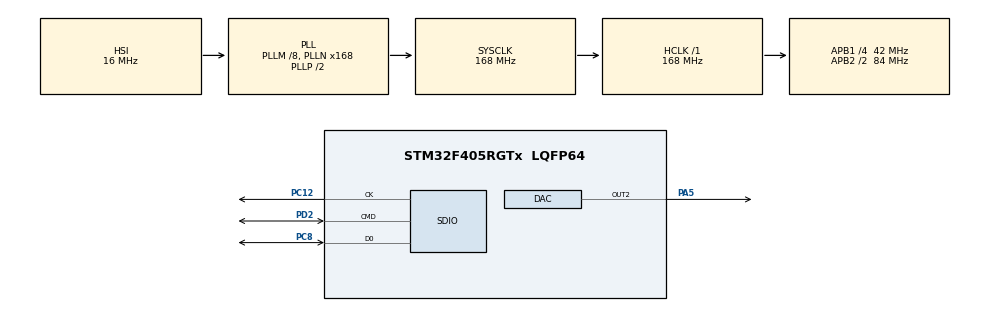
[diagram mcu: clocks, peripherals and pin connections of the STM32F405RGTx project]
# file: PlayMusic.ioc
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DAC.DAC_Trigger2=DAC_TRIGGER_T7_TRGO
Dma.DAC2.0.Direction=DMA_MEMORY_TO_PERIPH
Dma.DAC2.0.FIFOMode=DMA_FIFOMODE_DISABLE
Dma.DAC2.0.Instance=DMA1_Stream6
Dma.DAC2.0.MemDataAlignment=DMA_MDATAALIGN_HALFWORD
Dma.DAC2.0.MemInc=DMA_MINC_ENABLE
Dma.DAC2.0.Mode=DMA_NORMAL
Dma.DAC2.0.PeriphDataAlignment=DMA_PDATAALIGN_HALFWORD
Dma.DAC2.0.PeriphInc=DMA_PINC_DISABLE
Dma.DAC2.0.Priority=DMA_PRIORITY_VERY_HIGH
Dma.Request0=DAC2
FATFS._USE_STRFUNC=1
Mcu.Family=STM32F4
Mcu.Name=STM32F405RGTx
Mcu.Package=LQFP64
NVIC.DMA1_Stream6_IRQn=true\:0\:0\:false\:false\:true\:false\:true\:true
NVIC.PriorityGroup=NVIC_PRIORITYGROUP_4
PA13.Mode=Serial_Wire
PA13.Signal=SYS_JTMS-SWDIO
PA14.Mode=Serial_Wire
PA14.Signal=SYS_JTCK-SWCLK
PA5.Signal=COMP_DAC2_group
PC12.Mode=SD_1_bit
PC12.Signal=SDIO_CK
PC8.Mode=SD_1_bit
PC8.Signal=SDIO_D0
PD2.Mode=SD_1_bit
PD2.Signal=SDIO_CMD
PH0-OSC_IN.Mode=HSE-External-Oscillator
PH0-OSC_IN.Signal=RCC_OSC_IN
PH1-OSC_OUT.Mode=HSE-External-Oscillator
PH1-OSC_OUT.Signal=RCC_OSC_OUT
ProjectManager.HeapSize=0x200
ProjectManager.StackSize=0x400
ProjectManager.TargetToolchain=STM32CubeIDE
RCC.48MHZClocksFreq_Value=48000000
RCC.AHBFreq_Value=168000000
RCC.APB1CLKDivider=RCC_HCLK_DIV4
RCC.APB1Freq_Value=42000000
RCC.APB1TimFreq_Value=84000000
RCC.APB2CLKDivider=RCC_HCLK_DIV2
RCC.APB2Freq_Value=84000000
RCC.APB2TimFreq_Value=168000000
RCC.CortexFreq_Value=168000000
RCC.HCLKFreq_Value=168000000
RCC.HSE_VALUE=8000000
RCC.HSI_VALUE=16000000
RCC.LSE_VALUE=32768
RCC.PLLM=8
RCC.PLLN=168
RCC.PLLQ=7
RCC.SYSCLKFreq_VALUE=168000000
RCC.SYSCLKSource=RCC_SYSCLKSOURCE_PLLCLK
RCC.VCOOutputFreq_Value=336000000
SH.COMP_DAC2_group.0=DAC_OUT2,DAC_OUT2
TIM4.TIM_MasterOutputTrigger=TIM_TRGO_UPDATE
TIM7.AutoReloadPreload=TIM_AUTORELOAD_PRELOAD_DISABLE
TIM7.Period=65535
TIM7.Prescaler=99
TIM7.TIM_MasterOutputTrigger=TIM_TRGO_UPDATE
VP_FATFS_VS_SDIO.Mode=SDIO
VP_TIM4_VS_ClockSourceINT.Mode=Internal
VP_TIM7_VS_ClockSourceINT.Mode=Enable_Timer
board=custom

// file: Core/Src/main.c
/* USER CODE BEGIN Header */
/**
  ******************************************************************************
  * @file           : main.c
  * @brief          : Main program body
  ******************************************************************************
  * @attention
  *
  * Copyright (c) 2023 STMicroelectronics.
  * All rights reserved.
  *
  * This software is licensed under terms that can be found in the LICENSE file
  * in the root directory of this software component.
  * If no LICENSE file comes with this software, it is provided AS-IS.
  *
  ******************************************************************************
  */
/* USER CODE END Header */
#include "main.h"
#include "fatfs.h"
#include "wav.h"
#include <string.h>

/* USER CODE BEGIN PD */
#define BUFSIZE 512
#define MIN(a,b) (((a)<(b))? (a):(b))
typedef void (*funcP)(uint8_t channels, uint16_t numSamples, void *pIn, uint16_t *pOutput);
/* USER CODE END PD */

DAC_HandleTypeDef hdac;
DMA_HandleTypeDef hdma_dac2;

SD_HandleTypeDef hsd;

TIM_HandleTypeDef htim4;
TIM_HandleTypeDef htim7;

/* USER CODE BEGIN PV */
FATFS FatFs;
FRESULT res;
DIR dir;
FILINFO fno;
FIL fil;
UINT br;
uint8_t flg_dma_done;

static uint16_t fileBuffer[BUFSIZE];
static uint16_t dmaBuffer[2][BUFSIZE];
static uint16_t dmaBank = 0;
/* USER CODE END PV */

void SystemClock_Config(void);
static void MX_GPIO_Init(void);
static void MX_DMA_Init(void);
static void MX_DAC_Init(void);
static void MX_TIM7_Init(void);
static void MX_SDIO_SD_Init(void);
static void MX_TIM4_Init(void);

/* USER CODE BEGIN 0 */
static void setSampleRate(uint16_t freq)
{
  uint16_t period = (168000000 / (freq * (99 + 1))) - 1;
  htim7.Instance = TIM7;
  htim7.Init.Prescaler = 49;
  htim7.Init.CounterMode = TIM_COUNTERMODE_UP;
  htim7.Init.Period = period;
  htim7.Init.ClockDivision = TIM_CLOCKDIVISION_DIV1;
  htim7.Init.AutoReloadPreload = TIM_AUTORELOAD_PRELOAD_ENABLE;
  HAL_TIM_Base_Init(&htim7);
}

static inline uint16_t
val2Dac8(int32_t v)
{
  uint16_t out = v << 3;
  return out;
}

static inline uint16_t
val2Dac16(int32_t v)
{
  v >>= 4;
  v += 2047;
  return v & 0xfff;
}

static void
prepareDACBuffer_8Bit(uint8_t channels, uint16_t numSamples, void *pIn, uint16_t *pOutput)
{
  uint8_t *pInput = (uint8_t *)pIn;

  for (int i=0; i<numSamples; i++) {
    int32_t val = 0;

    for(int j=0; j<channels; j++) {
      val += *pInput++;
    }
    val /= channels;
    *pOutput++ = val2Dac8(val);
  }
}

static void
prepareDACBuffer_16Bit(uint8_t channels, uint16_t numSamples, void *pIn, uint16_t *pOutput)
{
  int16_t *pInput = (int16_t *)pIn;

  for (int i=0; i<numSamples; i++) {
    int32_t val = 0;

    for(int j=0; j<channels; j++) {
      val += *pInput++;
    }
    val /= channels;
    *pOutput++ = val2Dac16(val);
  }
}

static void outputSamples(FIL *fil, struct Wav_Header *header)
{
  const uint16_t channels = header->channels;
  const uint16_t bytesPerSample = header->bitsPerSample / 8;

  funcP prepareData = (header->bitsPerSample == 8)? prepareDACBuffer_8Bit : prepareDACBuffer_16Bit;

  dmaBank = 0;

  uint32_t bytes_last = header->dataChunkLength;
  do
  {
	  int blksize = (header->bitsPerSample == 8)? MIN(bytes_last, BUFSIZE / 2) : MIN(bytes_last, BUFSIZE);
	    UINT bytes_read;
	    FRESULT res;

	    res = f_read(fil, fileBuffer, blksize, &bytes_read);
	    if (res != FR_OK || bytes_read == 0)
	      break;

	    uint16_t numSamples = bytes_read / bytesPerSample / channels; // 8 bit = 256
	    int16_t     *pInput = (int16_t *)fileBuffer;
	    uint16_t   *pOutput = (uint16_t *)dmaBuffer[dmaBank];

	    prepareData(channels, numSamples, pInput, pOutput);
	    while(HAL_DAC_GetState(&hdac) != HAL_DAC_STATE_READY);
	    HAL_DAC_Start(&hdac, DAC_CHANNEL_2);
	    HAL_DAC_Start_DMA(&hdac, DAC_CHANNEL_2, (uint32_t*)dmaBuffer[dmaBank], numSamples, DAC_ALIGN_12B_R);
	    dmaBank = !dmaBank;
	    bytes_last -= blksize;
  }while(0 < bytes_last);
  while(HAL_DAC_GetState(&hdac) != HAL_DAC_STATE_READY);
  HAL_DAC_Stop_DMA(&hdac, DAC_CHANNEL_2);
}

static uint8_t isSupprtedWavFile(const struct Wav_Header *header)
{
  if (strncmp(header->riff, "RIFF", 4 ) != 0)
    return 0;

  if (header->vfmt != 1)
    return 0;

  if (strncmp(header->dataChunkHeader, "data", 4 ) != 0)
    return 0;

  return 1;
}

static void
playWavFile(char *filename)
{
  FIL fil;
  FRESULT res;
  UINT count = 0;

  struct Wav_Header header;

  res = f_open(&fil, filename, FA_READ);
  if (res != FR_OK)
    return;

  res = f_read(&fil, &header, sizeof(struct Wav_Header), &count);
  if (res != FR_OK)
    goto done;

  if (!isSupprtedWavFile(&header))
    goto done;

  setSampleRate(header.sampleFreq);
  outputSamples(&fil, &header);

done :
  res = f_close(&fil);
  if (res != FR_OK)
    return;
}

/* USER CODE END 0 */

int main(void)
{

  /* MCU Configuration--------------------------------------------------------*/

  /* Reset of all peripherals, Initializes the Flash interface and the Systick. */
  HAL_Init();

  /* Configure the system clock */
  SystemClock_Config();

  /* Initialize all configured peripherals */
  MX_GPIO_Init();
  MX_DMA_Init();
  MX_DAC_Init();
  MX_TIM7_Init();
  MX_SDIO_SD_Init();
  MX_FATFS_Init();
  MX_TIM4_Init();
  /* USER CODE BEGIN 2 */
  HAL_TIM_Base_Start(&htim7);
  //HAL_TIM_Base_Start(&htim4);
  //HAL_DAC_Start_DMA(&hdac, DAC_CHANNEL_2, (uint32_t*)&soundValues, AudioDataEndAddr, DAC_ALIGN_8B_R);

  res = f_mount(&FatFs, "", 0);
  if (res != FR_OK)
    return EXIT_FAILURE;
  res = f_opendir(&dir, "/emb");
  if (res != FR_OK)
    return EXIT_FAILURE;
  while(1) {
    res = f_readdir(&dir, &fno);
    if (res != FR_OK || fno.fname[0] == 0)
      break;

    char *filename = fno.fname;

    if (strstr(filename, ".WAV") != 0) {
      playWavFile(filename);
    }

    HAL_Delay(1000);
  }

  res = f_closedir(&dir);
  /* USER CODE END 2 */

  /* Infinite loop */
  while (1)
  {

  }
}

void SystemClock_Config(void)
{
  RCC_OscInitTypeDef RCC_OscInitStruct = {0};
  RCC_ClkInitTypeDef RCC_ClkInitStruct = {0};

  /** Configure the main internal regulator output voltage
  */
  __HAL_RCC_PWR_CLK_ENABLE();
  __HAL_PWR_VOLTAGESCALING_CONFIG(PWR_REGULATOR_VOLTAGE_SCALE1);

  /** Initializes the RCC Oscillators according to the specified parameters
  * in the RCC_OscInitTypeDef structure.
  */
  RCC_OscInitStruct.OscillatorType = RCC_OSCILLATORTYPE_HSI;
  RCC_OscInitStruct.HSIState = RCC_HSI_ON;
  RCC_OscInitStruct.HSICalibrationValue = RCC_HSICALIBRATION_DEFAULT;
  RCC_OscInitStruct.PLL.PLLState = RCC_PLL_ON;
  RCC_OscInitStruct.PLL.PLLSource = RCC_PLLSOURCE_HSI;
  RCC_OscInitStruct.PLL.PLLM = 8;
  RCC_OscInitStruct.PLL.PLLN = 168;
  RCC_OscInitStruct.PLL.PLLP = RCC_PLLP_DIV2;
  RCC_OscInitStruct.PLL.PLLQ = 7;
  if (HAL_RCC_OscConfig(&RCC_OscInitStruct) != HAL_OK)
  {
    Error_Handler();
  }

  /** Initializes the CPU, AHB and APB buses clocks
  */
  RCC_ClkInitStruct.ClockType = RCC_CLOCKTYPE_HCLK|RCC_CLOCKTYPE_SYSCLK
                              |RCC_CLOCKTYPE_PCLK1|RCC_CLOCKTYPE_PCLK2;
  RCC_ClkInitStruct.SYSCLKSource = RCC_SYSCLKSOURCE_PLLCLK;
  RCC_ClkInitStruct.AHBCLKDivider = RCC_SYSCLK_DIV1;
  RCC_ClkInitStruct.APB1CLKDivider = RCC_HCLK_DIV4;
  RCC_ClkInitStruct.APB2CLKDivider = RCC_HCLK_DIV2;

  if (HAL_RCC_ClockConfig(&RCC_ClkInitStruct, FLASH_LATENCY_5) != HAL_OK)
  {
    Error_Handler();
  }
}

static void MX_DAC_Init(void)
{

  DAC_ChannelConfTypeDef sConfig = {0};

  /** DAC Initialization
  */
  hdac.Instance = DAC;
  if (HAL_DAC_Init(&hdac) != HAL_OK)
  {
    Error_Handler();
  }

  /** DAC channel OUT2 config
  */
  sConfig.DAC_Trigger = DAC_TRIGGER_T7_TRGO;
  sConfig.DAC_OutputBuffer = DAC_OUTPUTBUFFER_ENABLE;
  if (HAL_DAC_ConfigChannel(&hdac, &sConfig, DAC_CHANNEL_2) != HAL_OK)
  {
    Error_Handler();
  }

}

static void MX_SDIO_SD_Init(void)
{

  hsd.Instance = SDIO;
  hsd.Init.ClockEdge = SDIO_CLOCK_EDGE_RISING;
  hsd.Init.ClockBypass = SDIO_CLOCK_BYPASS_DISABLE;
  hsd.Init.ClockPowerSave = SDIO_CLOCK_POWER_SAVE_DISABLE;
  hsd.Init.BusWide = SDIO_BUS_WIDE_1B;
  hsd.Init.HardwareFlowControl = SDIO_HARDWARE_FLOW_CONTROL_DISABLE;
  hsd.Init.ClockDiv = 0;

}

static void MX_TIM4_Init(void)
{

  TIM_ClockConfigTypeDef sClockSourceConfig = {0};
  TIM_MasterConfigTypeDef sMasterConfig = {0};

  htim4.Instance = TIM4;
  htim4.Init.Prescaler = 0;
  htim4.Init.CounterMode = TIM_COUNTERMODE_UP;
  htim4.Init.Period = 65535;
  htim4.Init.ClockDivision = TIM_CLOCKDIVISION_DIV1;
  htim4.Init.AutoReloadPreload = TIM_AUTORELOAD_PRELOAD_DISABLE;
  if (HAL_TIM_Base_Init(&htim4) != HAL_OK)
  {
    Error_Handler();
  }
  sClockSourceConfig.ClockSource = TIM_CLOCKSOURCE_INTERNAL;
  if (HAL_TIM_ConfigClockSource(&htim4, &sClockSourceConfig) != HAL_OK)
  {
    Error_Handler();
  }
  sMasterConfig.MasterOutputTrigger = TIM_TRGO_UPDATE;
  sMasterConfig.MasterSlaveMode = TIM_MASTERSLAVEMODE_DISABLE;
  if (HAL_TIMEx_MasterConfigSynchronization(&htim4, &sMasterConfig) != HAL_OK)
  {
    Error_Handler();
  }

}

static void MX_TIM7_Init(void)
{

  TIM_MasterConfigTypeDef sMasterConfig = {0};

  htim7.Instance = TIM7;
  htim7.Init.Prescaler = 99;
  htim7.Init.CounterMode = TIM_COUNTERMODE_UP;
  htim7.Init.Period = 65535;
  htim7.Init.AutoReloadPreload = TIM_AUTORELOAD_PRELOAD_DISABLE;
  if (HAL_TIM_Base_Init(&htim7) != HAL_OK)
  {
    Error_Handler();
  }
  sMasterConfig.MasterOutputTrigger = TIM_TRGO_UPDATE;
  sMasterConfig.MasterSlaveMode = TIM_MASTERSLAVEMODE_DISABLE;
  if (HAL_TIMEx_MasterConfigSynchronization(&htim7, &sMasterConfig) != HAL_OK)
  {
    Error_Handler();
  }

}

static void MX_DMA_Init(void)
{

  /* DMA controller clock enable */
  __HAL_RCC_DMA1_CLK_ENABLE();

  /* DMA interrupt init */
  /* DMA1_Stream6_IRQn interrupt configuration */
  HAL_NVIC_SetPriority(DMA1_Stream6_IRQn, 0, 0);
  HAL_NVIC_EnableIRQ(DMA1_Stream6_IRQn);

}

static void MX_GPIO_Init(void)
{

  /* GPIO Ports Clock Enable */
  __HAL_RCC_GPIOH_CLK_ENABLE();
  __HAL_RCC_GPIOA_CLK_ENABLE();
  __HAL_RCC_GPIOC_CLK_ENABLE();
  __HAL_RCC_GPIOD_CLK_ENABLE();

}

void Error_Handler(void)
{
  __disable_irq();
  while (1)
  {
  }
}
